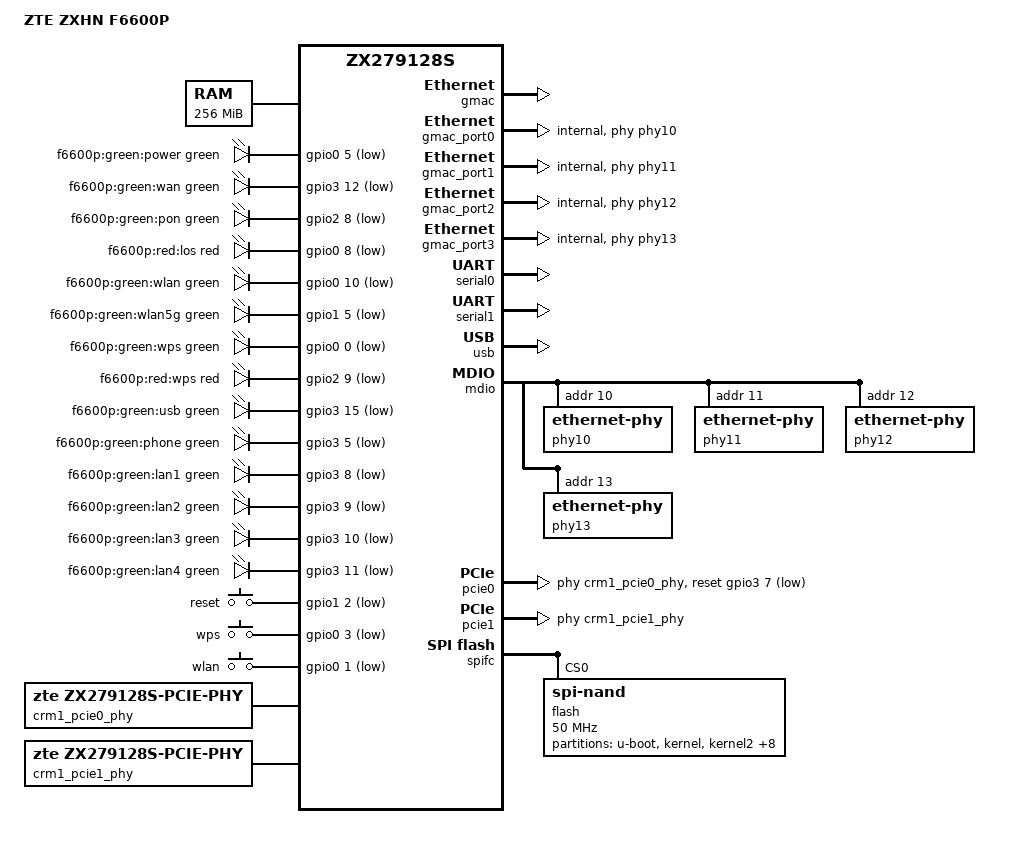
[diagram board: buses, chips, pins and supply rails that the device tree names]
// SPDX-License-Identifier: GPL-2.0-only OR BSD-2-Clause
/*
 * ZTE ZXHN F6600P (HW V9.1.41, TM / Unifi Malaysia AX3000 GPON ONT)
 * SoC       : Sanechips / ZTE ZX279128S (cputype=3, dual Cortex-A9 @ 1 GHz, no VFP/NEON)
 * RAM       : 256 MiB DDR3 (0x40000000..0x4fffffff)
 * Flash     : 128 MiB 3.3V SPI-NAND (2 KiB page, 128 KiB eraseblock)
 * Wi-Fi     : MediaTek Filogic 630 (MT7916AN, PCIe0 14c3:7906 + PCIe1 14c3:790a)
 * Ethernet  : 4x integrated Sanechips GbE PHYs at MDIO 0xa..0xd (uni_phy = {0a, 0b, 0c, 0d})
 * USB       : USB 2.0 / 3.0 host (dwc3 @ 0x09100000)
 * Bootloader: U-Boot V9.1.10P10N9 (20250904100727, non-secure, 0x168 header + JFFS2 /0uImage)
 *
 * All memory addresses, MTD partition offsets (vmlinux.bin @ 0x4fd118), MDIO PHY addresses
 * (plat-zxylzb_9128S.ko uni_phy @ .data+0x88), and GPIO tables (vmlinux.bin @ 0xc070ba2c,
 * board ID 0x95 F6600P V9.1.41) were verified directly from a full 128 MiB flash dump.
 */

/dts-v1/;

#include "zte/zx279128s.dtsi"
#include <dt-bindings/gpio/gpio.h>
#include <dt-bindings/input/input.h>
#include <dt-bindings/leds/common.h>

/ {
	model = "ZTE ZXHN F6600P";
	compatible = "zte,zxhn-f6600p", "zte,zx279128s";

	aliases {
		ethernet0 = &gmac;
		serial0 = &serial0;
		serial1 = &serial1;
		led-boot = &led_power;
		led-failsafe = &led_power;
		led-running = &led_power;
		led-upgrade = &led_wan;
	};

	chosen {
		stdout-path = "serial0:115200n8";
	};

	memory@40000000 {
		device_type = "memory";
		reg = <0x40000000 0x10000000>; /* 256 MiB DDR3 */
	};

	leds {
		compatible = "gpio-leds";

		/*
		 * GPIO table extracted from stock vmlinux.bin @ 0xc070ba2c
		 * (Board ID 0x95, F6600P V9.1.41) + bspdriver.ko:
		 *   Flat GPIO = bank * 16 + pin (6 banks gpio0..gpio5 of 16 lines each).
		 *   All LEDs on F6600P are active-low (LED_POWER init=0 at boot, others init=1).
		 */
		led_power: led-power {
			label = "f6600p:green:power";
			color = <LED_COLOR_ID_GREEN>;
			function = LED_FUNCTION_POWER;
			gpios = <&gpio0 5 GPIO_ACTIVE_LOW>;
			default-state = "on";
		};

		led_wan: led-wan {
			label = "f6600p:green:wan";
			color = <LED_COLOR_ID_GREEN>;
			function = LED_FUNCTION_WAN_ONLINE;
			gpios = <&gpio3 12 GPIO_ACTIVE_LOW>;
			default-state = "off";
		};

		led_pon: led-pon {
			label = "f6600p:green:pon";
			color = <LED_COLOR_ID_GREEN>;
			function = LED_FUNCTION_WAN;
			gpios = <&gpio2 8 GPIO_ACTIVE_LOW>;
			default-state = "off";
		};

		led_los: led-los {
			label = "f6600p:red:los";
			color = <LED_COLOR_ID_RED>;
			function = LED_FUNCTION_FAULT;
			gpios = <&gpio0 8 GPIO_ACTIVE_LOW>;
			default-state = "off";
		};

		led_wlan: led-wlan {
			label = "f6600p:green:wlan";
			color = <LED_COLOR_ID_GREEN>;
			function = LED_FUNCTION_WLAN_2GHZ;
			gpios = <&gpio0 10 GPIO_ACTIVE_LOW>;
			default-state = "off";
		};

		led_wlan5g: led-wlan5g {
			label = "f6600p:green:wlan5g";
			color = <LED_COLOR_ID_GREEN>;
			function = LED_FUNCTION_WLAN_5GHZ;
			gpios = <&gpio1 5 GPIO_ACTIVE_LOW>;
			default-state = "off";
		};

		led_wps_green: led-wps-green {
			label = "f6600p:green:wps";
			color = <LED_COLOR_ID_GREEN>;
			function = LED_FUNCTION_WPS;
			gpios = <&gpio0 0 GPIO_ACTIVE_LOW>;
			default-state = "off";
		};

		led_wps_red: led-wps-red {
			label = "f6600p:red:wps";
			color = <LED_COLOR_ID_RED>;
			function = LED_FUNCTION_WPS;
			gpios = <&gpio2 9 GPIO_ACTIVE_LOW>;
			default-state = "off";
		};

		led_usb: led-usb {
			label = "f6600p:green:usb";
			color = <LED_COLOR_ID_GREEN>;
			function = LED_FUNCTION_USB;
			gpios = <&gpio3 15 GPIO_ACTIVE_LOW>;
			default-state = "off";
		};

		led_phone: led-phone {
			label = "f6600p:green:phone";
			color = <LED_COLOR_ID_GREEN>;
			function = "phone";
			gpios = <&gpio3 5 GPIO_ACTIVE_LOW>;
			default-state = "off";
		};

		led_lan1: led-lan1 {
			label = "f6600p:green:lan1";
			color = <LED_COLOR_ID_GREEN>;
			function = LED_FUNCTION_LAN;
			gpios = <&gpio3 8 GPIO_ACTIVE_LOW>;
			default-state = "off";
		};

		led_lan2: led-lan2 {
			label = "f6600p:green:lan2";
			color = <LED_COLOR_ID_GREEN>;
			function = LED_FUNCTION_LAN;
			gpios = <&gpio3 9 GPIO_ACTIVE_LOW>;
			default-state = "off";
		};

		led_lan3: led-lan3 {
			label = "f6600p:green:lan3";
			color = <LED_COLOR_ID_GREEN>;
			function = LED_FUNCTION_LAN;
			gpios = <&gpio3 10 GPIO_ACTIVE_LOW>;
			default-state = "off";
		};

		led_lan4: led-lan4 {
			label = "f6600p:green:lan4";
			color = <LED_COLOR_ID_GREEN>;
			function = LED_FUNCTION_LAN;
			gpios = <&gpio3 11 GPIO_ACTIVE_LOW>;
			default-state = "off";
		};
	};

	keys {
		/*
		 * Polled mode is mandatory on ZX279128S: IRQ mode on the ZTE GPIO
		 * controller triggers an RCU lockup on button press.
		 * Input pins from vmlinux @ 0xc070ba2c (Board ID 0x95):
		 *   - Flat GPIO 18 (&gpio1  2): KEY_RESTORE (Reset)
		 *   - Flat GPIO  3 (&gpio0  3): WPS_SW (WPS)
		 *   - Flat GPIO  1 (&gpio0  1): WLAN_SW (Wi-Fi toggle)
		 */
		compatible = "gpio-keys-polled";
		poll-interval = <50>;

		key-reset {
			label = "reset";
			gpios = <&gpio1 2 GPIO_ACTIVE_LOW>;
			linux,code = <KEY_RESTART>;
			debounce-interval = <60>;
		};

		key-wps {
			label = "wps";
			gpios = <&gpio0 3 GPIO_ACTIVE_LOW>;
			linux,code = <KEY_WPS_BUTTON>;
			debounce-interval = <60>;
		};

		key-wlan {
			label = "wlan";
			gpios = <&gpio0 1 GPIO_ACTIVE_LOW>;
			linux,code = <KEY_RFKILL>;
			debounce-interval = <60>;
		};
	};
};

/*
 * 4x integrated Gigabit PHYs confirmed from stock plat-zxylzb_9128S.ko
 * uni_phy @ .data+0x88 ({0x0a, 0x0b, 0x0c, 0x0d}) and /proc/interrupts (gphy0..gphy3 on GIC 71..74).
 * Verified 1-to-1 chassis mapping:
 *   gmac_port0 (phy10) = Chassis LAN1 -> OpenWrt "wan" (GPON unused)
 *   gmac_port1 (phy11) = Chassis LAN2 -> OpenWrt "lan1"
 *   gmac_port2 (phy12) = Chassis LAN3 -> OpenWrt "lan2"
 *   gmac_port3 (phy13) = Chassis LAN4 -> OpenWrt "lan3"
 * Factory MAC addresses live in /tagparam/paramtag (offsets 0x62 LAN, 0x6e WAN)
 * and are applied by /etc/board.d/02_network.
 */
&gmac {
	interrupts = <GIC_SPI 36 IRQ_TYPE_LEVEL_HIGH>,
		     <GIC_SPI 38 IRQ_TYPE_LEVEL_HIGH>;
	status = "okay";
};

&gmac_port0 {
	label = "wan";
	phy-handle = <&phy10>;
	phy-mode = "internal";
	status = "okay";
};

&gmac_port1 {
	label = "lan1";
	phy-handle = <&phy11>;
	phy-mode = "internal";
	status = "okay";
};

&gmac_port2 {
	label = "lan2";
	phy-handle = <&phy12>;
	phy-mode = "internal";
	status = "okay";
};

&gmac_port3 {
	label = "lan3";
	phy-handle = <&phy13>;
	phy-mode = "internal";
	status = "okay";
};

&gmac_port4 {
	status = "disabled";
};

&serial0 {
	status = "okay";
};

&serial1 {
	status = "okay";
};

/* USB 2.0 / 3.0 host (dwc3 @ 0x09100000, GIC SPI 50 / IRQ 82) */
&usb {
	status = "okay";
};

&mdio {
	status = "okay";

	phy10: ethernet-phy@a {
		reg = <10>;
	};

	phy11: ethernet-phy@b {
		reg = <11>;
	};

	phy12: ethernet-phy@c {
		reg = <12>;
	};

	phy13: ethernet-phy@d {
		reg = <13>;
	};
};

/*
 * MediaTek Filogic 630 (MT7916AN) dual-band Wi-Fi 6:
 *   PCIe0 (0000:00:00.0, 14c3:7906, GIC 95) — reset GPIO 55 (&gpio3 7, slot 45 WLAN_MT7613_RST)
 *   PCIe1 (0000:01:00.0, 14c3:790a, GIC 110) — ext-HIF on same chip
 * Calibration data is stored in mtd "wlan" (0x00a00000) as /wlan/caldata (196,608 B).
 */
&pcie0 {
	reset-gpios = <&gpio3 7 GPIO_ACTIVE_LOW>;
	phys = <&crm1_pcie0_phy>;
	phy-names = "pcie";
	status = "okay";
};

&pcie1 {
	phys = <&crm1_pcie1_phy>;
	phy-names = "pcie";
	status = "okay";
};

/ {
	soc {
		crm1: syscon@94000000 {
			compatible = "syscon", "simple-mfd";
			reg = <0x94000000 0x1000>;
			#address-cells = <1>;
			#size-cells = <0>;

			reboot {
				compatible = "syscon-reboot";
				offset = <0x44>;
				mask = <0x1>;
				value = <0x1>;
			};

			crm1_pcie0_phy: phy@0 {
				compatible = "zte,zx279128s-pcie-phy";
				reg = <0>;
				#phy-cells = <0>;
			};

			crm1_pcie1_phy: phy@1 {
				compatible = "zte,zx279128s-pcie-phy";
				reg = <1>;
				#phy-cells = <0>;
			};
		};
	};
};

&spifc {
	status = "okay";

	flash@0 {
		compatible = "spi-nand";
		reg = <0>;
		spi-max-frequency = <50000000>;
		spi-rx-bus-width = <2>;
		spi-tx-bus-width = <1>;

		/*
		 * 128 MiB SPI-NAND (2 KiB page, 128 KiB erase block).
		 *
		 * Exact hardware partition table extracted from stock vmlinux.bin @ 0x4fd118:
		 *   0x00000000 .. 0x00200000 ( 2 MiB): u-boot          (stock mtd1)
		 *   0x00200000 .. 0x00600000 ( 4 MiB): others          (stock mtd2, BootImageNum selector)
		 *   0x00600000 .. 0x00a00000 ( 4 MiB): parameter tags  (stock mtd3, /tagparam JFFS2)
		 *   0x00a00000 .. 0x00e00000 ( 4 MiB): wlan            (stock mtd4, /wlan JFFS2 caldata)
		 *   0x00e00000 .. 0x01600000 ( 8 MiB): usercfg         (stock mtd5)
		 *   0x01600000 .. 0x01a00000 ( 4 MiB): middleware      (stock mtd6)
		 *   0x01a00000 .. 0x03a00000 (32 MiB): kernel1         (stock mtd7, Slot 0 — OpenWrt via Reset TFTP)
		 *   0x03a00000 .. 0x05a00000 (32 MiB): kernel2         (stock mtd8, Slot 1 — untouched Stock)
		 *   0x05a00000 .. 0x05c00000 ( 2 MiB): Plugin          (stock mtd10)
		 *   0x05c00000 .. 0x07000000 (20 MiB): Pluginlog       (stock mtd11, empty -> rootfs_data)
		 *
		 * OpenWrt occupies Slot 0 (kernel1 @ 0x01a00000, flashed via U-Boot Reset-button
		 * TFTP recovery 'downver version'), preserving Stock untouched in Slot 1 (0x03a00000):
		 *   - 0x01a00000..0x01f00000 ( 5 MiB): "kernel" (0x168 header + JFFS2 with /0uImage)
		 *   - 0x01f00000..0x03a00000 (27 MiB): "rootfs" (SquashFS, index 3 = /dev/mtdblock3)
		 * Writable JFFS2 overlay ("rootfs_data") is placed in the empty 20 MiB Pluginlog
		 * partition (0x05c00000) so U-Boot's payload CRC32 over kernel1 remains intact across reboots.
		 */
		partitions {
			compatible = "fixed-partitions";
			#address-cells = <1>;
			#size-cells = <1>;

			partition@0 {
				label = "u-boot";
				reg = <0x00000000 0x00200000>;
				read-only;
			};

			partition@1a00000 {
				label = "kernel";
				reg = <0x01a00000 0x00500000>;
			};

			partition@3a00000 {
				label = "kernel2";
				reg = <0x03a00000 0x02000000>;
				read-only;
			};

			partition@1f00000 {
				label = "rootfs";
				reg = <0x01f00000 0x01b00000>;
			};

			partition@5c00000 {
				/* Empty 20 MiB stock Pluginlog; used as writable JFFS2 rootfs_data overlay */
				label = "rootfs_data";
				reg = <0x05c00000 0x01400000>;
			};

			partition@200000 {
				/* Holds BootImageNum=0x00000000 / 0x00000001 dual-slot selector */
				label = "others";
				reg = <0x00200000 0x00400000>;
			};

			partition@600000 {
				/* JFFS2 mounted by vendor at /tagparam; holds paramtag (MACs) */
				label = "tagparam";
				reg = <0x00600000 0x00400000>;
			};

			partition@a00000 {
				/* JFFS2 mounted by vendor at /wlan; holds caldata (196,608 B) */
				label = "wlan";
				reg = <0x00a00000 0x00400000>;
			};

			partition@e00000 {
				label = "usercfg";
				reg = <0x00e00000 0x00800000>;
				read-only;
			};

			partition@1600000 {
				label = "middleware";
				reg = <0x01600000 0x00400000>;
				read-only;
			};

			partition@5a00000 {
				label = "plugin";
				reg = <0x05a00000 0x00200000>;
				read-only;
			};
		};
	};
};

&l2cc {
	zte,l2c-io-read-lock;
};

/ {
	soc {
		soc_thermal: temp@94100034 {
			compatible = "zxic,tempsensor";
			reg = <0x94100034 0xc>;
			#thermal-sensor-cells = <0>;
		};
	};
	thermal-zones {
		soc-thermal {
			polling-delay-passive = <2000>;
			polling-delay = <5000>;
			thermal-sensors = <&soc_thermal>;

			trips {
				soc_crit: crit {
					temperature = <110000>;
					hysteresis = <5000>;
					type = "critical";
				};
			};
		};
	};
};
